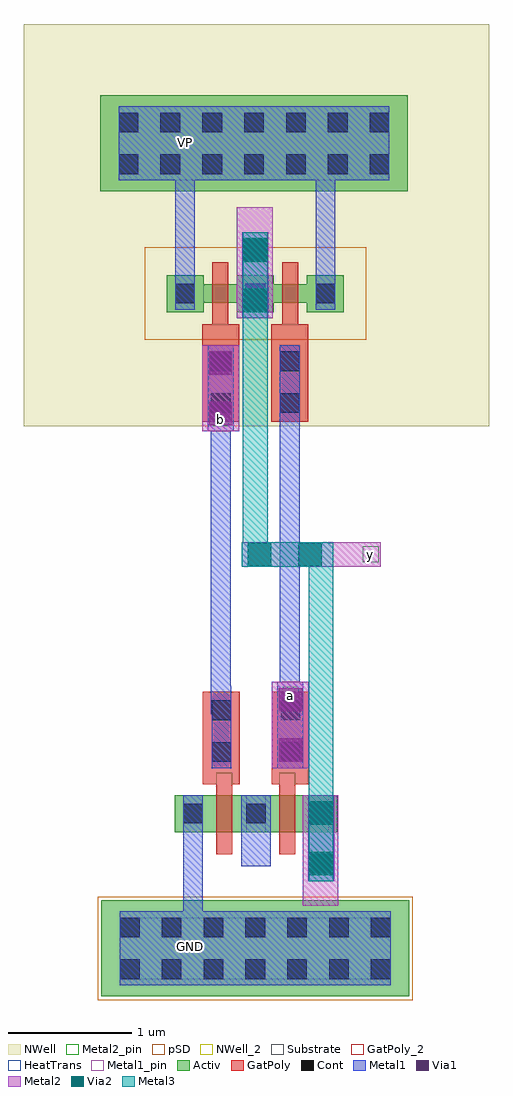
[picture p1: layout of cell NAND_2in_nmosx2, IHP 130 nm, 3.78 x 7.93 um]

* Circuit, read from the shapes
.subckt NAND_2in_nmosx2 GND VP a b y
XM1 n1 b GND GND sg13_lv_nmos w=0.3u l=0.13u
XM2 y a n1 GND sg13_lv_nmos w=0.3u l=0.13u
XM3 y b VP VP sg13_lv_pmos w=0.15u l=0.13u
XM4 VP a y VP sg13_lv_pmos w=0.15u l=0.13u
.ends

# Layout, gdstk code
from math import pi, radians
import gdstk
lib = gdstk.Library(unit=1e-6, precision=1e-09)
def R(c, l, rs):  # rectangles x0, y0, x1, y1
    for r in rs: c.add(gdstk.rectangle(r[:2], r[2:], *l))
def A(c, l, x, y, w, h, nx, ny, dx, dy):  # array of equal rectangles
    R(c, l, [(x+i*dx, y+j*dy, x+i*dx+w, y+j*dy+h) for i in range(nx) for j in range(ny)])
Activ = (1, 0)
GatPoly = (5, 0)
GatPoly_2 = (5, 2)
Cont = (6, 0)
Metal1 = (8, 0)
Metal1_pin = (8, 2)
Metal2 = (10, 0)
Metal2_pin = (10, 2)
pSD = (14, 0)
Via1 = (19, 0)
Via2 = (29, 0)
Metal3 = (30, 0)
NWell = (31, 0)
NWell_2 = (31, 2)
Substrate = (40, 0)
HeatTrans = (51, 0)

ntap1 = lib.new_cell('ntap1')
R(ntap1, Activ, [(0,0,2.5,0.78)])
A(ntap1, Cont, 0.15, 0.14, 0.16, 0.16, 7, 2, 0.34, 0.34)
R(ntap1, Metal1, [(0.15,0.09,2.35,0.69)])
R(ntap1, Metal1_pin, [(0.15,0.09,2.35,0.69), (0.15,0.14,2.35,0.64)])
R(ntap1, NWell, [(-0.24,-0.24,2.74,1.02), (0,0,2.5,0.78)])
R(ntap1, NWell_2, [(0,0,2.5,0.78)])
ntap1.add(gdstk.Label('well', (1.25,0.01), layer=31, texttype=0))
ntap1.add(gdstk.Label('well', (1.25,0.01), layer=63, texttype=0))

nmos_3 = lib.new_cell('nmos$3')
A(nmos_3, Activ, 0, 0, 0.3, 0.3, 3, 1, 0.51, 0)
R(nmos_3, Activ, [(0,0,1.32,0.3)])
R(nmos_3, GatPoly, [(0.34,-0.18,0.47,0.48), (0.85,-0.18,0.98,0.48)])
R(nmos_3, GatPoly_2, [(0.34,-0.18,0.47,0.48)])
A(nmos_3, Cont, 0.07, 0.07, 0.16, 0.16, 3, 1, 0.51, 0)
A(nmos_3, Metal1, 0.07, 0, 0.16, 0.3, 3, 1, 0.51, 0)
R(nmos_3, Metal1_pin, [(0.07,0,0.23,0.3), (0.58,0,0.74,0.3)])
R(nmos_3, HeatTrans, [(0.34,-0.18,0.47,0.48), (0.85,-0.18,0.98,0.48)])
nmos_3.add(gdstk.Label('nmos', (0.405,0.15), layer=63, texttype=0))
nmos_3.add(gdstk.Label('nmos', (0.405,0.15), layer=51, texttype=0))
nmos_3.add(gdstk.Label('nmos', (0.915,0.15), layer=51, texttype=0))

ptap1 = lib.new_cell('ptap1')
R(ptap1, Activ, [(0,0,2.5,0.78)])
A(ptap1, Cont, 0.15, 0.14, 0.16, 0.16, 7, 2, 0.34, 0.34)
R(ptap1, Metal1, [(0.15,0.09,2.35,0.69), (0.15,0.14,2.35,0.64)])
R(ptap1, Metal1_pin, [(0.15,0.14,2.35,0.64)])
R(ptap1, pSD, [(-0.03,-0.03,2.53,0.81)])
R(ptap1, Substrate, [(0,0,2.5,0.78)])
ptap1.add(gdstk.Label('sub!', (1.25,0.01), layer=63, texttype=0))
ptap1.add(gdstk.Label('sub!', (1.25,0.01), layer=40, texttype=0))

via_5 = lib.new_cell('Via$5')
R(via_5, Metal2, [(-0.1,-0.35,0.1,0.35)])
R(via_5, Via2, [(-0.095,-0.3,0.095,-0.11), (-0.095,0.11,0.095,0.3)])
R(via_5, Metal3, [(-0.1,-0.35,0.1,0.35)])

via_4 = lib.new_cell('Via$4')
R(via_4, Metal1, [(-0.105,-0.35,0.105,0.35)])
R(via_4, Metal2, [(-0.1,-0.35,0.1,0.35)])
R(via_4, Via1, [(-0.095,-0.3,0.095,-0.11), (-0.095,0.11,0.095,0.3)])

via_6 = lib.new_cell('Via$6')
R(via_6, GatPoly, [(-0.32,-0.15,0.32,0.15)])
R(via_6, Cont, [(-0.25,-0.08,-0.09,0.08), (0.09,-0.08,0.25,0.08)])
R(via_6, Metal1, [(-0.3,-0.08,0.3,0.08)])

pmos = lib.new_cell('pmos')
A(pmos, Activ, 0, 0, 0.3, 0.3, 3, 1, 0.57, 0)
R(pmos, Activ, [(0,0.075,1.44,0.225)])
R(pmos, GatPoly, [(0.37,-0.105,0.5,0.405), (0.37,-0.105,0.5,0.405), (0.94,-0.105,1.07,0.405)])
A(pmos, Cont, 0.07, 0.07, 0.16, 0.16, 3, 1, 0.57, 0)
R(pmos, Metal1, [(0.07,0.02,0.23,0.28), (0.07,0.02,0.23,0.28), (0.64,0.02,0.8,0.28), (0.64,0.02,0.8,0.28), (1.21,0.02,1.37,0.28)])
R(pmos, pSD, [(-0.18,-0.225,1.62,0.525)])
R(pmos, NWell, [(-0.31,-0.31,1.75,0.61)])
R(pmos, Substrate, [(1.14,0,1.44,0.3)])
R(pmos, HeatTrans, [(0.37,-0.105,0.5,0.405), (0.94,-0.105,1.07,0.405)])
pmos.add(gdstk.Label('pmos', (0.435,0.15), layer=63, texttype=0))
pmos.add(gdstk.Label('pmos', (0.435,0.15), layer=51, texttype=0))
pmos.add(gdstk.Label('pmos', (1.005,0.15), layer=51, texttype=0))

nand_2in_nmosx2 = lib.new_cell('NAND_2in_nmosx2')
R(nand_2in_nmosx2, GatPoly, [(0.605,-3.005,0.905,-2.895), (1.165,-3.005,1.465,-2.895), (0.6,0.58,0.9,0.73), (1.16,0.58,1.46,0.73), (0.68,0.68,0.81,0.77), (1.25,0.68,1.38,0.77)])
R(nand_2in_nmosx2, Metal1, [(0.445,-4.15,0.605,-3.37), (0.915,-3.675,1.155,-3.415), (0.915,-3.435,1.155,-3.095), (0.67,-2.44,0.835,-2.21), (0.67,-2.21,0.83,-1.27), (1.23,-2.21,1.39,-1.27), (0.67,-1.31,0.83,-0.37), (1.23,-1.31,1.39,-0.37), (0.67,-0.37,0.83,-0.12), (1.23,-0.37,1.39,-0.01), (1.52,1,1.68,1.2), (0.38,1.01,0.54,1.15), (0.38,1.115,0.54,1.99), (1.52,1.115,1.68,1.94)])
R(nand_2in_nmosx2, Metal1_pin, [(0.44,-4.395,0.57,-4.265), (0.4,2.15,0.53,2.28)])
R(nand_2in_nmosx2, Metal2, [(1.415,-3.995,1.705,-3.795), (1.415,-3.795,1.705,-3.095), (1.165,-2.875,1.465,-2.175), (1.62,-1.24,2.05,-1.04), (0.6,-0.14,0.9,0.56), (0.88,0.78,1.17,0.98), (0.88,0.98,1.17,1.68)])
R(nand_2in_nmosx2, Metal2_pin, [(1.255,-2.345,1.385,-2.215), (1.905,-1.205,2.035,-1.075), (0.69,-0.1,0.82,0.03)])
R(nand_2in_nmosx2, Metal3, [(1.465,-3.105,1.665,-2.905), (1.465,-2.905,1.665,-1.045), (0.93,-1.09,1.13,0.17), (0.93,0.1,1.13,0.62), (0.93,0.62,1.13,0.72), (0.93,0.71,1.13,0.87)])
R(nand_2in_nmosx2, NWell, [(-0.85,-0.1,2.93,3.17)])
nand_2in_nmosx2.add(gdstk.Reference(ntap1, (-0.23,1.81)))
nand_2in_nmosx2.add(gdstk.Reference(nmos_3, (1.695,-3.095), rotation=pi))
nand_2in_nmosx2.add(gdstk.Reference(ptap1, (-0.22,-4.73)))
nand_2in_nmosx2.add(gdstk.Reference(via_5, (1.27,-1.14), rotation=3*pi/2))
nand_2in_nmosx2.add(gdstk.Reference(via_4, (1.565,-3.445), rotation=pi))
nand_2in_nmosx2.add(gdstk.Reference(via_4, (1.315,-2.525), rotation=pi))
nand_2in_nmosx2.add(gdstk.Reference(via_4, (0.75,0.21), rotation=pi))
nand_2in_nmosx2.add(gdstk.Reference(via_4, (1.03,1.13), rotation=pi))
nand_2in_nmosx2.add(gdstk.Reference(via_6, (0.755,-2.575), rotation=3*pi/2))
nand_2in_nmosx2.add(gdstk.Reference(via_6, (1.315,-2.575), rotation=3*pi/2))
nand_2in_nmosx2.add(gdstk.Reference(via_6, (0.75,0.26), rotation=3*pi/2))
nand_2in_nmosx2.add(gdstk.Reference(via_6, (1.31,0.26), rotation=3*pi/2))
nand_2in_nmosx2.add(gdstk.Reference(via_5, (1.565,-3.445), rotation=pi))
nand_2in_nmosx2.add(gdstk.Reference(via_5, (1.03,1.13), rotation=pi))
nand_2in_nmosx2.add(gdstk.Reference(pmos, (1.75,1.13), rotation=pi))
nand_2in_nmosx2.add(gdstk.Label('VP', (0.46,2.21), layer=8, texttype=25))
nand_2in_nmosx2.add(gdstk.Label('GND', (0.505,-4.325), layer=8, texttype=25))
nand_2in_nmosx2.add(gdstk.Label('y', (1.97,-1.14), layer=10, texttype=25))
nand_2in_nmosx2.add(gdstk.Label('b', (0.75,-0.04), layer=10, texttype=25))
nand_2in_nmosx2.add(gdstk.Label('a', (1.315,-2.285), layer=10, texttype=25))

lib.write_gds('NAND_2in_nmosx2.gds')
